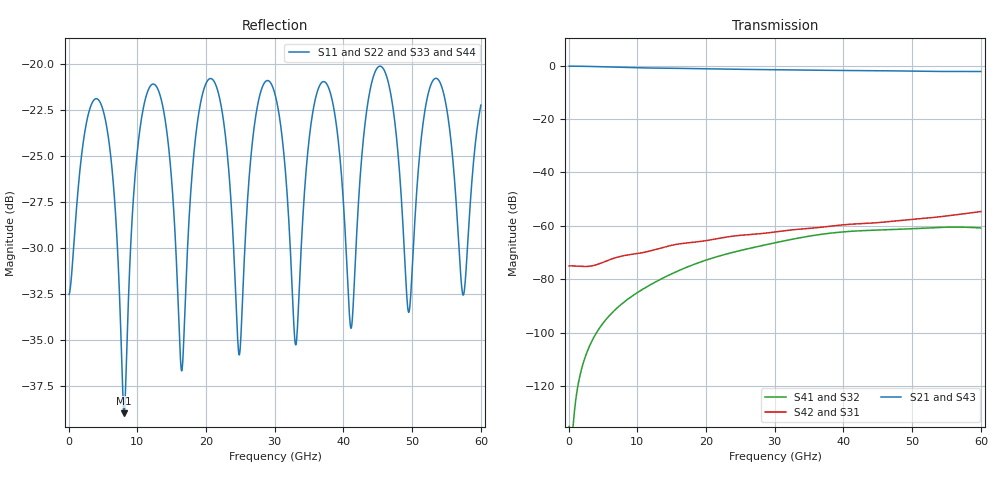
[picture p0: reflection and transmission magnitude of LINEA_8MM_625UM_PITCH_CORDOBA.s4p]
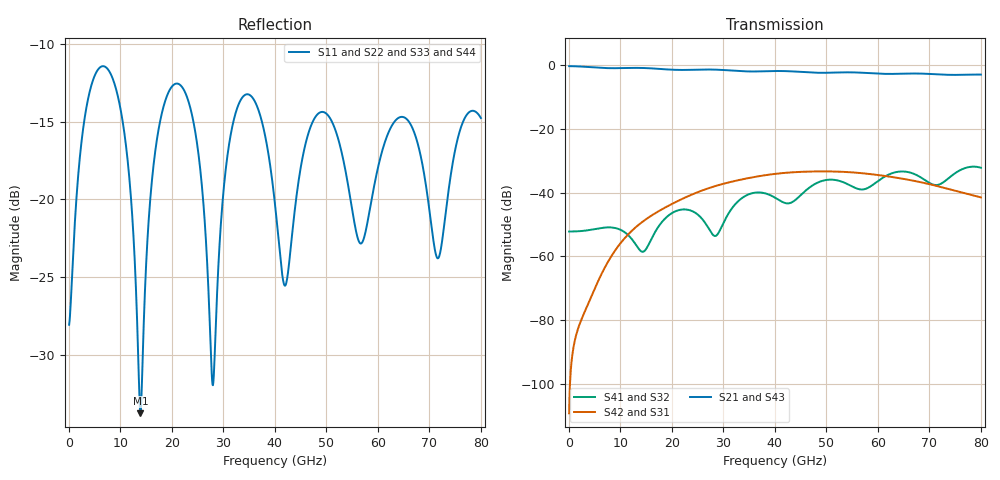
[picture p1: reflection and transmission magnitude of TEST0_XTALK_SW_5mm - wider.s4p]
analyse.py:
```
"""
CORDOBA 8 mm slow-wave pair (LN 200 nm, SiO2 4.7 um, Si 525 um open bottom, T pitch 180 um,
~15 cells across the gaps). Ports 1 A near, 2 A far, 3 B near, 4 B far.
Through-line index, even/odd split, NEXT/FEXT, symmetry floors; side by side with the
Istanbul 5 mm (coarse TD mesh) and the std 8 mm LOW_Z (same gap, uniform).
"""
import sys, os
sys.path.insert(0, os.path.abspath(os.path.join(os.path.dirname(__file__), "../../../..")))
import numpy as np, skrf
from mzm_interconnect import xtalk_s4p as X
here = os.path.dirname(os.path.abspath(__file__))
d = lambda x: 20 * np.log10(np.abs(x) + 1e-30)
runs = {"CORDOBA 8mm": (os.path.join(here, "LINEA_8MM_625UM_PITCH_CORDOBA.s4p"), 8.0),
        "Istanbul 5mm": (os.path.join(here, "../istanbul/TEST0_XTALK_SW_5mm - wider.s4p"), 5.0),
        "std LOW_Z 8mm": (os.path.join(here, "../std_8mm/LINEA_8MM_625UM_PITCH_STD_LOW_Z.s4p"), 8.0)}
for k, (p, L) in runs.items():
    if not os.path.exists(p):
        print(k, "missing", p); continue
    pr = X.load_pair(p, L)
    f = pr["f_Hz"]; s = pr["s"]; w = 2 * np.pi * f
    gd = lambda x: -np.gradient(np.unwrap(np.angle(x)), w) * 1e12
    print(f"\n== {k}: data to {f[-1]/1e9:.1f} GHz, A/B asym {pr['sym_ab']:.1e}, end asym {pr['sym_end']:.1e}")
    print(" GHz   n_e     n_o     dn       a_e dB/cm  Z_e        Z_o        S11   S21    NEXT   FEXT  floorN floorF")
    for g in (5, 10, 20, 30, 40, 50, 60, 70, 80):
        if g * 1e9 > f[-1] + 1: continue
        i = np.argmin(abs(f - g * 1e9)); e, o = pr["even"], pr["odd"]; si = s[i]
        fN = abs(si[2, 0] - si[3, 1]); fF = abs(si[3, 0] - si[2, 1])
        print(f"{g:4d} {e['table'][1][i]:7.4f} {o['table'][1][i]:7.4f} {e['table'][1][i]-o['table'][1][i]:+8.5f} "
              f"{e['table'][0][i]/100:7.3f}   {e['Z'][i].real:5.1f}{e['Z'][i].imag:+5.1f}j {o['Z'][i].real:5.1f}{o['Z'][i].imag:+5.1f}j "
              f"{d(si[0,0]):6.1f} {d(si[1,0]):6.2f} {d(si[2,0]):6.1f} {d(si[3,0]):6.1f} {d(fN):6.1f} {d(fF):6.1f}")
    sel = (f >= 5e9) & (f <= 50e9)
    t21, tN, tF = (np.median(gd(s[:, a, 0])[sel]) for a in (1, 2, 3))
    print(f"group delay 5-50 GHz: through {t21:.1f} ps (n_g {t21*1e-12*X.C0/(L*1e-3):.3f}), NEXT {tN:.1f} ps ({tN/t21:.2f}x), FEXT {tF:.1f} ps ({tF/t21:.2f}x)")
    for band in ((2, 20), (20, 40), (40, 60)):
        m = (f >= band[0] * 1e9) & (f <= band[1] * 1e9)
        rms = lambda x: d(np.sqrt(np.mean(abs(x) ** 2)))
        print(f"   {band[0]:2d}-{band[1]:2d} GHz rms NEXT {rms(s[m,2,0]):6.1f} FEXT {rms(s[m,3,0]):6.1f} dB")
```
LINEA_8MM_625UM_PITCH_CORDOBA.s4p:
! TOUCHSTONE file generated by CST MICROWAVE STUDIO
! Date and time: Wed Oct 28 09:14:27 2026
! Project name: LINEA_8MM_625UM_PITCH_CORDOBA.cst
! Parameters = {CHANNEL_PITCH=0.625; GAP=0.00415; L=8; L1=0.02; L2=0.086; L3=0.066; NCELL=1; PITCH=0.18; START_POSITION=0.13; W1=0.003; W2=0.004; W3=0.009; WG=0.04985; gap_oxr=0.00125; linbo3_thickness=0.0002; mtx=0.002; oxiDinE=0.0014; w=0.185; ws=0.035}
! Header version: 2024
! Port assignment regex: !\s*Touchstone port\s*([0-9]+)\s*=\s*(CST MWS port|CST DES external port|CST DES block port)\s*(.+)\s* \(\"(.*)\"\)(\s*mode\s*([0-9]+))?.*
! Touchstone port assignment:
! Touchstone port 1 = CST MWS port 1 ("")
! Touchstone port 2 = CST MWS port 2 ("")
! Touchstone port 3 = CST MWS port 3 ("")
! Touchstone port 4 = CST MWS port 4 ("")
# GHz S MA R 50
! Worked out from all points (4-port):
!   1000 points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, 60 MHz to 60 GHz, reference 50 ohm
!   strongest paths, dB at 60 MHz, 15.06 GHz, 30.06 GHz, 45.06 GHz, 60 GHz:
!     S21: -0.3, -1.0, -1.5, -1.9, -2.2
!     S43: -0.3, -1.0, -1.5, -1.9, -2.2
!     S42: -75.0, -67.3, -62.3, -58.8, -54.7
!     S31: -75.0, -67.3, -62.3, -58.8, -54.7
!     S41: -135.2, -77.9, -66.4, -61.6, -60.8
!     S32: -135.3, -77.9, -66.4, -61.6, -60.8
!   lowest |S11| = -39.0 dB at 8.04 GHz (marker M1), VSWR 1.02, Z = 48.9 - j0.272 ohm
!   |S11| at or under -10 dB: start of sweep to end of sweep
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0.06  0.02363 -5.6  0.9716 -1.3  0.0001772 -2.9  1.729e-07 173.7
      0.9716 -1.3  0.02363 -5.6  1.727e-07 173.7  0.0001773 -2.9
      0.0001772 -2.9  1.719e-07 173.7  0.02363 -5.6  0.9716 -1.3
      1.741e-07 173.7  0.0001773 -2.9  0.9716 -1.3  0.02363 -5.6
8.04  0.01123 -165.7  0.9195 -176.0  0.0002753 -36.9  3.704e-05 178.9
      0.9195 -176.0  0.0112 -165.6  3.703e-05 178.9  0.0002753 -36.9
      0.0002753 -36.9  3.704e-05 178.9  0.01123 -165.7  0.9195 -176.0
      3.703e-05 178.9  0.0002753 -36.9  0.9195 -176.0  0.0112 -165.6
60  0.07722 -125.7  0.7723 153.1  0.001843 144.6  0.0009075 63.1
    0.7723 153.1  0.07724 -125.9  0.0009075 63.1  0.001843 144.7
    0.001843 144.6  0.0009075 63.1  0.07723 -125.7  0.7723 153.1
    0.0009075 63.1  0.001843 144.7  0.7723 153.1  0.07723 -125.9
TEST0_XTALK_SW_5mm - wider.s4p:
! TOUCHSTONE file generated by CST MICROWAVE STUDIO
! Date and time: Mon Oct 26 08:30:54 2026
! Project name: TEST0_XTALK_SW_5mm - wider.cst
! Parameters = {L=5; L1=0.01; L2=0.076; PITCH=0.2; START_POSITION=0.1; W1=0.002; W2=0.022; gap=0.00415; interaxis=0.625; ln_thickness=0.000275; mtx=0.002; si_thickness=0.3; sio2_thickness=0.0047; w=2; wg=0.03; ws=0.01}
! Header version: 2024
! Port assignment regex: !\s*Touchstone port\s*([0-9]+)\s*=\s*(CST MWS port|CST DES external port|CST DES block port)\s*(.+)\s* \(\"(.*)\"\)(\s*mode\s*([0-9]+))?.*
! Touchstone port assignment:
! Touchstone port 1 = CST MWS port 1 ("")
! Touchstone port 2 = CST MWS port 2 ("")
! Touchstone port 3 = CST MWS port 3 ("")
! Touchstone port 4 = CST MWS port 4 ("")
# GHz S MA R 50
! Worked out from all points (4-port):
!   1000 points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, 80 MHz to 80 GHz, reference 50 ohm
!   strongest paths, dB at 80 MHz, 20.08 GHz, 40.08 GHz, 60.08 GHz, 80 GHz:
!     S21: -0.3, -1.4, -1.8, -2.7, -3.0
!     S43: -0.3, -1.4, -1.8, -2.7, -3.0
!     S42: -109.2, -43.5, -34.1, -34.5, -41.5
!     S31: -109.1, -43.5, -34.1, -34.5, -41.5
!     S41: -52.2, -46.4, -41.6, -36.3, -32.2
!     S32: -52.2, -46.4, -41.6, -36.3, -32.2
!   lowest |S11| = -33.8 dB at 13.92 GHz (marker M1), VSWR 1.04, Z = 52.1 - j0.312 ohm
!   |S11| at or under -10 dB: start of sweep to end of sweep
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0.08  0.03955 6.3  0.9633 -1.1  3.497e-06 65.5  0.00246 176.8
      0.9633 -1.1  0.03955 6.3  0.00246 176.8  3.454e-06 67.4
      3.52e-06 64.5  0.002461 176.8  0.03955 6.3  0.9633 -1.1
      0.002461 176.8  3.474e-06 66.4  0.9633 -1.1  0.03955 6.3
13.92  0.02053 -8.4  0.9041 -177.7  0.003304 -27.6  0.00123 3.2
       0.9041 -177.7  0.02052 -8.3  0.00123 3.2  0.003303 -27.6
       0.003303 -27.6  0.001231 3.2  0.02054 -8.4  0.9041 -177.7
       0.001231 3.2  0.003303 -27.6  0.9041 -177.7  0.02052 -8.3
80  0.1826 -14.1  0.7109 76.3  0.008435 -100.7  0.0246 -54.0
    0.7109 76.3  0.1827 -14.0  0.0246 -54.0  0.008441 -100.7
    0.008432 -100.7  0.02461 -54.0  0.1826 -14.1  0.7108 76.3
    0.02461 -54.0  0.008438 -100.7  0.7108 76.3  0.1827 -14.0
